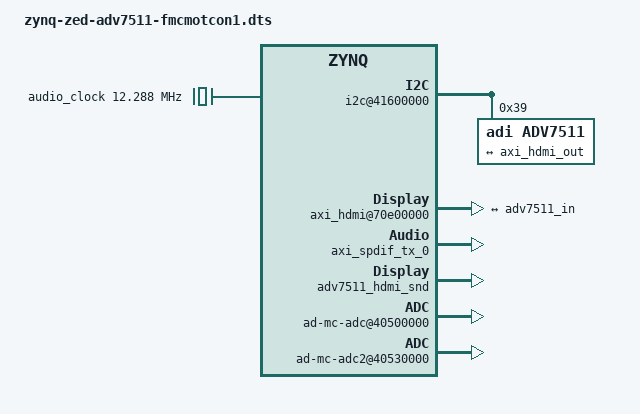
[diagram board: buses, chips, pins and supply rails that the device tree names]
/dts-v1/;

/include/ "zynq-zed.dtsi"

/ {
	fpga_axi: fpga-axi@0 {
		compatible = "simple-bus";
		#address-cells = <0x1>;
		#size-cells = <0x1>;
		ranges;

		i2c@41600000 {
			compatible = "xlnx,axi-iic-1.01.b", "xlnx,xps-iic-2.00.a";
			interrupt-parent = <&intc>;
			interrupts = <0 58 0x4>;
			reg = <0x41600000 0x10000>;

			#size-cells = <0>;
			#address-cells = <1>;

			adv7511: adv7511@39 {
				compatible = "adi,adv7511";
				reg = <0x39>;

				adi,input-style = <0x02>;
				adi,input-id = <0x01>;
				adi,input-color-depth = <0x3>;
				adi,sync-pulse = <0x03>;
				adi,bit-justification = <0x01>;
				adi,up-conversion = <0x00>;
				adi,timing-generation-sequence = <0x00>;
				adi,vsync-polarity = <0x02>;
				adi,hsync-polarity = <0x02>;
				adi,tdms-clock-inversion;
				adi,clock-delay = <0x03>;

				ports {
					#address-cells = <1>;
					#size-cells = <0>;

					port@0 {
						reg = <0>;
						adv7511_in: endpoint {
							remote-endpoint = <&axi_hdmi_out>;
						};
					};

					port@1 {
						reg = <1>;
					};
				};
			};
		};

		axi_vdma_0: axivdma@43000000 {
			compatible = "xlnx,axi-vdma-1.00.a";
			#address-cells = <1>;
			#size-cells = <1>;
			#dma-cells = <1>;
			#dma-channels = <1>;
			reg = <0x43000000 0x1000>;
			xlnx,num-fstores = <0x3>;
			dma-channel@43000000 {
				compatible = "xlnx,axi-vdma-mm2s-channel";
				interrupts = <0 59 0x4>;
				xlnx,datawidth = <0x40>;
				xlnx,genlock-mode = <0x0>;
				xlnx,include-dre = <0x0>;
			};
		};

		hdmi_clock: axi-clkgen@79000000 {
			compatible = "adi,axi-clkgen-2.00.a";
			reg = <0x79000000 0x10000>;
			#clock-cells = <0>;
			clocks = <&clkc 16>;
		};

		axi_hdmi@70e00000 {
			compatible = "adi,axi-hdmi-tx-1.00.a";
			reg = <0x70e00000 0x10000>;
			dmas = <&axi_vdma_0 0>;
			dma-names = "video";
			clocks = <&hdmi_clock>;

			port {
				axi_hdmi_out: endpoint {
					remote-endpoint = <&adv7511_in>;
				};
			};
		};

		audio_clock: audio_clock {
			compatible = "fixed-clock";
			#clock-cells = <0>;
			clock-frequency = <12288000>;
		};

		axi_spdif_tx_0: axi-spdif-tx@0x75c00000 {
			compatible = "adi,axi-spdif-tx-1.00.a";
			reg = <0x75c00000 0x1000>;
			dmas = <&dmac_s 0>;
			dma-names = "tx";
			clocks = <&clkc 15>, <&audio_clock>;
			clock-names = "axi", "ref";
		};

		adv7511_hdmi_snd: adv7511_hdmi_snd {
			compatible = "adv7511-hdmi-snd";
			audio-codec = <&adv7511>;
			cpu-dai = <&axi_spdif_tx_0>;
		};

		axi_dma_0: axidma@40400000 {
			compatible = "adi,axi-dmac-1.00.a";
			reg = <0x40400000 0x10000>;
			#dma-cells = <1>;
			interrupts = <0 57 0>;
			clocks = <&clkc 16>;

			dma-channel {
				adi,buswidth = <64>;
				adi,type = <0>;
			};
		};

		ad-mc-adc@40500000 {
			compatible = "xlnx,axi-ad-mc-adc-1.00.a";
			reg = <0x40500000 0x10000>;
			dmas = <&axi_dma_0 0>;
			dma-names = "ad-mc-adc-dma";
		};

		axi_dma_1: axidma1@40420000 {
			compatible = "adi,axi-dmac-1.00.a";
			reg = <0x40420000 0x10000>;
			#dma-cells = <1>;
			interrupts = <0 54 0>;
			clocks = <&clkc 16>;

			dma-channel {
				adi,buswidth = <32>;
				adi,type = <0>;
			};
		};

		ad-mc-ctrl@40520000 {
			compatible = "xlnx,axi-ad-mc-ctrl-1.00.a";
			reg = <0x40520000 0x10000>;
			dmas = <&axi_dma_1 0>;
			dma-names = "ad-mc-ctrl-dma";
		};

		axi_dma_2: axidma2@40410000 {
			compatible = "adi,axi-dmac-1.00.a";
			reg = <0x40410000 0x10000>;
			#dma-cells = <1>;
			interrupts = <0 56 0>;
			clocks = <&clkc 16>;

			dma-channel {
				adi,buswidth = <32>;
				adi,type = <0>;
			};
		};

		ad-mc-speed@40510000 {
			compatible = "xlnx,axi-ad-mc-speed-1.00.a";
			reg = <0x40510000 0x10000>;
			dmas = <&axi_dma_2 0>;
			dma-names = "ad-mc-speed-dma";
		};

		axi_dma_3: axidma3@40430000 {
			compatible = "adi,axi-dmac-1.00.a";
			reg = <0x40430000 0x10000>;
			#dma-cells = <1>;
			interrupts = <0 53 0>;
			clocks = <&clkc 16>;

			dma-channel {
				adi,buswidth = <64>;
				adi,type = <0>;
			};
		};

		ad-mc-adc2@40530000 {
			compatible = "xlnx,axi-ad-mc-adc-1.00.a";
			reg = <0x40530000 0x10000>;
			dmas = <&axi_dma_3 0>;
			dma-names = "ad-mc-adc-dma";
		};
		
		uiomc@7C000000 {
			compatible = "generic-uio";
			reg = <0x7C000000 0x4000000>;
		};
	};
};
